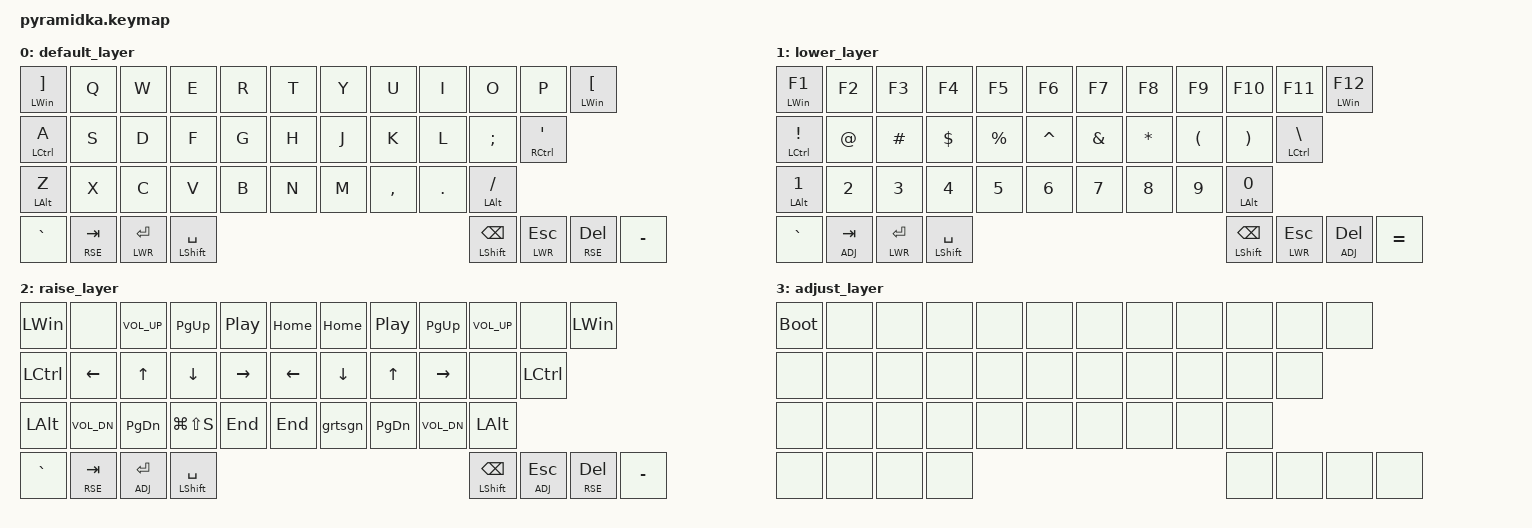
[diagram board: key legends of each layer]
/*
 * Copyright (c) 2022 The ZMK Contributors
 *
 * SPDX-License-Identifier: MIT
 */
 
#include <behaviors.dtsi>
#include <dt-bindings/zmk/keys.h>
#include <dt-bindings/zmk/outputs.h>
#include <dt-bindings/zmk/rgb.h>

#include <behaviors.dtsi>
#include <dt-bindings/zmk/keys.h>
#include <dt-bindings/zmk/bt.h>

#include <dt-bindings/zmk/ext_power.h>
 
#define DEF 0
#define LWR 1
#define RSE 2
#define ADJ 3


&lt { quick_tap_ms = <220>; };
&mt { quick_tap_ms = <220>; };

/ {
    macros {
        numdot: numdot {
            label = "ZM_numdot";
            compatible = "zmk,behavior-macro";
            #binding-cells = <0>;
            wait-ms = <40>;
            tap-ms = <40>;
            bindings
                = <&macro_press   &kp LALT>    
                , <&macro_tap     &kp KP_N4 &kp KP_N6>    
                , <&macro_release &kp LALT>
                ;
        };
        grtsgn: grtsgn {
            label = "ZM_grtsgn";
            compatible = "zmk,behavior-macro";
            #binding-cells = <0>;
            wait-ms = <40>;
            tap-ms = <40>;
            bindings
                = <&macro_press   &kp LALT>    
                , <&macro_tap     &kp KP_N6 &kp KP_N2>    
                , <&macro_release &kp LALT>
                ;
        };
    };
};
/ {
        keymap {
                compatible = "zmk,keymap";

                default_layer {
// ------------------------------------------------------------------------------------------------
//|  Q  |  W  |  E  |  R  |  T  |  Y  |  U   |  I  |  O  |  P  |  [  |  ]  |
//   |  A  |  S  |  D  |  F  |  G  |  H  |  J   |  K  |  L  |  ;  |  '  |
//      |  Z  |  X  |  C  |  V  |  B  |  N  |  M   |  ,  |  .  |  /  |
//         |  `  | RSE | LWR | SPC | BKSP | LWR | RSE |BKSP |  -  |
bindings = <
&mt LWIN RBKT &kp Q &kp W &kp E &kp R &kp T  &kp Y  &kp U     &kp I   &kp O          &kp P         &mt LWIN LBKT
&mt LCTRL A   &kp S &kp D &kp F &kp G &kp H  &kp J  &kp K     &kp L   &kp SEMI       &mt RCTRL SQT
&mt LALT  Z   &kp X &kp C &kp V &kp B &kp N  &kp M  &kp COMMA &kp DOT &mt LALT FSLH
&kp GRAVE     &lt RSE TAB &lt LWR ENTER      &mt LSHFT SPACE  &mt LSHFT BSPC   &lt LWR ESC &lt RSE DEL &kp MINUS
>;
                };
                lower_layer {
// ------------------------------------------------------------------------------------------------
//|  F1  |  F2  |  F3  |  F4  |  F5  |  F6  |  F7   |  F8  |  F9  |  F10  |  F11  |  F12  |
//   |  !  |  @  |  #  |  $  |  %  |  ^  |  &   |  *  |  (  |  )  |  \  |
//      |  1  |  2  |  3  |  4  |  5  |  6  |  7   |  8  |  9  |  0  |
//         |  `  | RSE | LWR | SPC | BKSP | LWR | RSE |BKSP |  -  |
                        bindings = <
    &mt LWIN   F1  &kp F2      &kp F3   &kp F4   &kp F5    &kp F6    &kp F7   &kp F8   &kp F9   &kp F10      &kp F11        &mt LWIN F12 
    &mt LCTRL EXCL &kp AT      &kp HASH &kp DLLR &kp PRCNT &kp CARET &kp AMPS &kp STAR &kp LPAR &kp RPAR     &mt LCTRL BSLH  
    &mt LALT N1    &kp N2      &kp N3   &kp N4   &kp N5    &kp N6    &kp N7   &kp N8   &kp N9   &mt LALT  N0
    &kp GRAVE      &lt ADJ TAB &lt LWR ENTER &mt LSHFT SPACE &mt LSHFT BSPC &lt LWR ESC &lt ADJ DEL &kp EQUAL
                        >;
                };
                raise_layer {
// ------------------------------------------------------------------------------------------------
//| WIN |     |  VU  |  PgUp   |PAUSE| HOME| HOME|PAUSE| PgUp|  VU  |     | WIN |
//   | CTRL| LEFT| UP | DOWN| RIGHT| LEFT| DOWN | UP | RIGHT|     | CTRL|
//      | ALT |  VD | PgDn|  SCR  | END  | END |  > | PgDn|  VD |  ALT  |
//         |  `  | RSE | LWR | SPC | BKSP | LWR | RSE |BKSP |  -  |
                        bindings = <
    &kp LWIN  &none        &kp C_VOL_UP &kp PG_UP     &kp C_PP  &kp HOME &kp HOME &kp C_PP  &kp PG_UP    &kp C_VOL_UP &none     &kp LWIN
    &kp LCTRL &kp LEFT     &kp UP       &kp DOWN      &kp RIGHT &kp LEFT &kp DOWN &kp UP    &kp RIGHT    &none        &kp LCTRL
    &kp LALT  &kp C_VOL_DN &kp PG_DN    &kp LG(LS(S)) &kp END   &kp END  &grtsgn  &kp PG_DN &kp C_VOL_DN &kp LALT 
    &kp GRAVE &lt RSE TAB  &lt ADJ ENTER &mt LSHFT SPACE &mt LSHFT BSPC &lt ADJ ESC &lt RSE DEL &kp MINUS
                        >; 
                };
                                adjust_layer {
// ------------------------------------------------------------------------------------------------
//|  Q  |  W  |  E  |  R  |  T  |  Y  |  U   |  I  |  O  |  P  |  [  |  ]  |
//   |  A  |  S  |  D  |  F  |  G  |  H  |  J   |  K  |  L  |  ;  |  '  |
//      |  Z  |  X  |  C  |  V  |  B  |  N  |  M   |  ,  |  .  |  /  |
//         |  `  | RSE | LWR | SPC | BKSP | LWR | RSE |BKSP |  -  |
                        bindings = <
&bootloader &none &none &none &none &none &none &none &none &none &none &none
&none &none &none &none &none &none &none &none &none &none &none
&none &none &none &none &none &none &none &none &none &none
&none &none &none &none &none &none &none &none
>;
                };
        };
};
